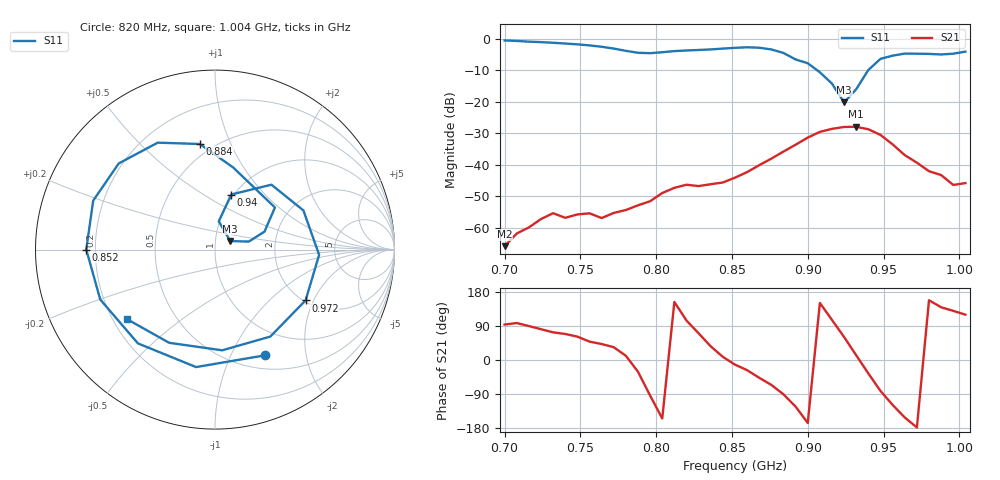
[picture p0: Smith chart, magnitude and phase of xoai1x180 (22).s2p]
# Hz S RI R 50
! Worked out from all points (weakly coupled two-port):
!   39 points, 700 MHz to 1.004 GHz, reference 50 ohm
!   highest |S21| = -27.95 dB at 932 MHz (marker M1); lowest = -65.8 dB at 700 MHz (marker M2)
!   lowest |S11| = -20.2 dB at 924 MHz (marker M3), VSWR 1.22, Z = 59 + j5.66 ohm
!   |S11| at or under -10 dB: 906.2 MHz to 939.9 MHz (33.66 MHz wide, 3.65 % of centre)
!   S12 and S22 are empty: the file has one direction only
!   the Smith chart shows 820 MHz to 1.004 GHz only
!   S11 on the Smith chart (normalised r, x): 820 MHz: 0.66, -1.35; 852 MHz: 0.16, +0.00; 884 MHz: 0.42, +0.77; 940 MHz: 0.97, +0.67; 972 MHz: 2.04, -1.74; 1.004 GHz: 0.26, -0.33
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7e8  0.7572 0.5549  -3.14e-05 0.00051  0 0  0 0
7.24e8  0.8471 -0.2503  0.000209 0.00136  0 0  0 0
7.4e8  0.4596 -0.702  0.000523 0.00134  0 0  0 0
7.56e8  -0.1948 -0.7591  0.00112 0.00127  0 0  0 0
7.72e8  -0.6707 -0.1944  0.00143 0.000955  0 0  0 0
7.8e8  -0.5981 0.234  0.00188 0.000368  0 0  0 0
7.96e8  0.2514 0.5334  -0.000182 -0.00263  0 0  0 0
8.04e8  0.5851 0.1746  -0.00321 -0.00154  0 0  0 0
8.2e8  0.277 -0.5893  -0.00118 0.00467  0 0  0 0
8.36e8  -0.4295 -0.5225  0.00398 0.00289  0 0  0 0
8.52e8  -0.7172 0.000234  0.0061 -0.00132  0 0  0 0
8.68e8  -0.5366 0.48  0.00672 -0.00721  0 0  0 0
8.84e8  -0.0846 0.5882  -0.000184 -0.0162  0 0  0 0
9e8  0.334 0.2346  -0.0262 -0.00648  0 0  0 0
9.08e8  0.276 0.1003  -0.029 0.0164  0 0  0 0
9.24e8  0.085 0.0475  0.0196 0.0346  0 0  0 0
9.32e8  0.0211 0.1574  0.0391 0.00848  0 0  0 0
9.4e8  0.0907 0.307  0.0297 -0.0213  0 0  0 0
9.56e8  0.4926 0.2181  -0.0101 -0.0185  0 0  0 0
9.72e8  0.5047 -0.283  -0.0108 -0.000362  0 0  0 0
9.88e8  0.0403 -0.5611  -0.00519 0.00449  0 0  0 0
1.004e9  -0.4893 -0.3879  -0.00253 0.00445  0 0  0 0
